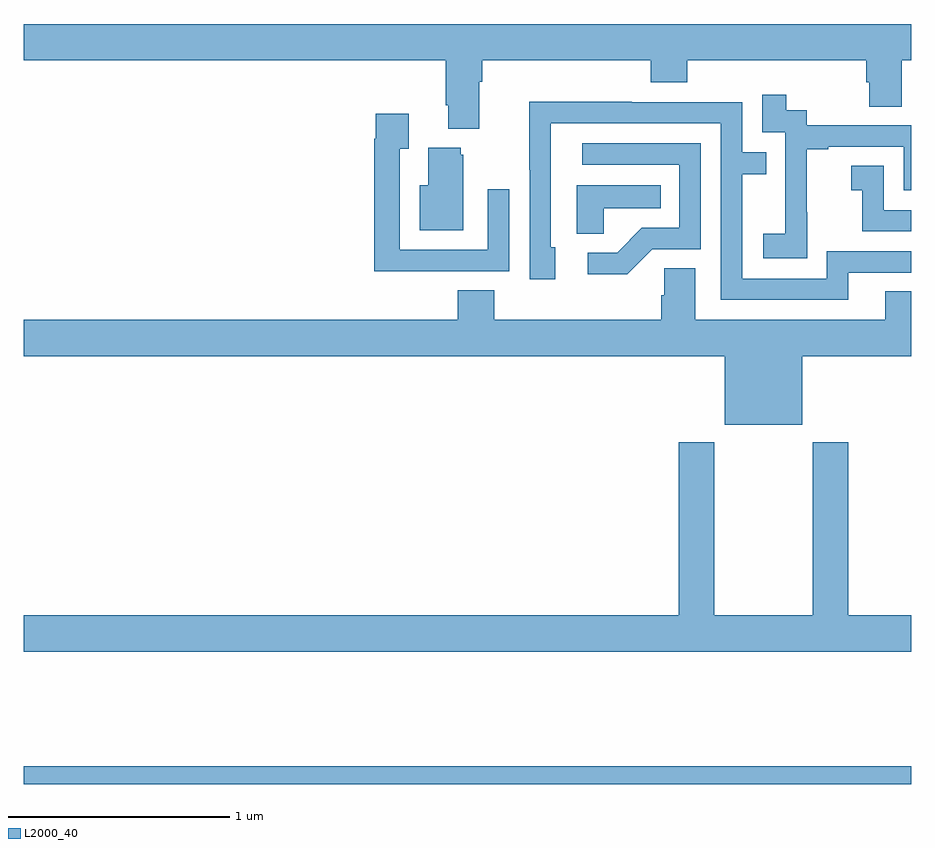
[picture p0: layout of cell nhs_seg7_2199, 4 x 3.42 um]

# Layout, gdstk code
import gdstk
lib = gdstk.Library(unit=1e-6, precision=1e-09)
def R(c, l, rs):  # rectangles x0, y0, x1, y1
    for r in rs: c.add(gdstk.rectangle(r[:2], r[2:], *l))
def P(c, l, *ps):  # polygons
    for p in ps: c.add(gdstk.Polygon(p, *l))
L2000_40 = (2000, 40)

nhs_seg7_2199 = lib.new_cell('nhs_seg7_2199')
R(nhs_seg7_2199, L2000_40, [(255,1020,259,1020.08)])
P(nhs_seg7_2199, L2000_40, [(257.053,1023.164),(257.066,1023.164),(257.066,1023.26),(257.825,1023.26),(257.825,1023.161),(257.99,1023.161),(257.99,1023.26),(258.797,1023.26),(258.797,1023.162),(258.809,1023.162),(258.809,1023.052),(258.957,1023.052),(258.957,1023.26),(259,1023.26),(259,1023.424),(255,1023.424),(255,1023.26),(256.901,1023.26),(256.901,1023.058),(256.913,1023.058),(256.913,1022.951),(257.053,1022.951)],
  [(258.531,1022.575),(258.529,1022.575),(258.529,1022.859),(258.625,1022.859),(258.625,1022.871),(258.966,1022.871),(258.966,1022.676),(259,1022.676),(259,1022.967),(258.528,1022.967),(258.528,1023.036),(258.436,1023.036),(258.436,1023.106),(258.327,1023.106),(258.327,1022.937),(258.432,1022.937),(258.432,1022.708),(258.431,1022.708),(258.431,1022.479),(258.333,1022.479),(258.333,1022.369),(258.531,1022.369)],
  [(258.715,1022.304),(259,1022.304),(259,1022.4),(258.618,1022.4),(258.618,1022.277),(258.237,1022.277),(258.237,1022.746),(258.347,1022.746),(258.347,1022.847),(258.237,1022.847),(258.237,1023.072),(257.741,1023.072),(257.741,1023.074),(257.278,1023.074),(257.278,1022.767),(257.28,1022.767),(257.28,1022.274),(257.395,1022.274),(257.395,1022.418),(257.376,1022.418),(257.376,1022.976),(258.141,1022.976),(258.141,1022.181),(258.715,1022.181)],
  [(256.871,1022.31),(257.187,1022.31),(257.187,1022.68),(257.091,1022.68),(257.091,1022.406),(256.695,1022.406),(256.695,1022.863),(256.735,1022.863),(256.735,1023.019),(256.587,1023.019),(256.587,1022.906),(256.579,1022.906),(256.579,1022.309),(256.871,1022.309)],
  [(257.832,1022.409),(258.051,1022.409),(258.051,1022.886),(257.517,1022.886),(257.517,1022.79),(257.955,1022.79),(257.955,1022.505),(257.786,1022.505),(257.675,1022.394),(257.541,1022.394),(257.541,1022.297),(257.719,1022.297)],
  [(256.981,1022.835),(256.97,1022.835),(256.97,1022.866),(256.823,1022.866),(256.823,1022.698),(256.784,1022.698),(256.784,1022.495),(256.981,1022.495)],
  [(259,1022.586),(258.876,1022.586),(258.876,1022.785),(258.729,1022.785),(258.729,1022.675),(258.778,1022.675),(258.778,1022.49),(259,1022.49)],
  [(257.613,1022.594),(257.87,1022.594),(257.87,1022.698),(257.492,1022.698),(257.492,1022.479),(257.613,1022.479)],
  [(258.508,1021.928),(259,1021.928),(259,1022.219),(258.881,1022.219),(258.881,1022.092),(258.025,1022.092),(258.025,1022.324),(257.886,1022.324),(257.886,1022.201),(257.873,1022.201),(257.873,1022.092),(257.12,1022.092),(257.12,1022.225),(256.955,1022.225),(256.955,1022.092),(255,1022.092),(255,1021.928),(258.158,1021.928),(258.158,1021.619),(258.508,1021.619)],
  [(259,1020.76),(258.716,1020.76),(258.716,1021.54),(258.556,1021.54),(258.556,1020.76),(258.111,1020.76),(258.111,1021.54),(257.951,1021.54),(257.951,1020.76),(255,1020.76),(255,1020.596),(259,1020.596)])

lib.write_gds('nhs_seg7_2199.gds')
